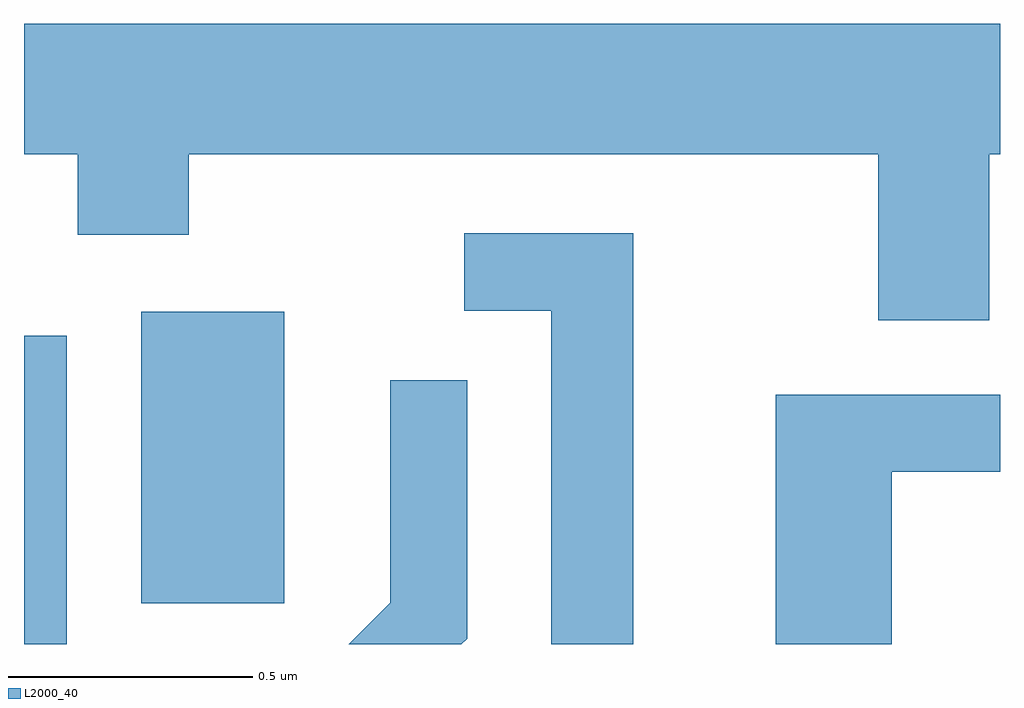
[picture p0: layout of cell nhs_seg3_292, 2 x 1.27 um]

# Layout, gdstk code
import gdstk
lib = gdstk.Library(unit=1e-6, precision=1e-09)
def R(c, l, rs):  # rectangles x0, y0, x1, y1
    for r in rs: c.add(gdstk.rectangle(r[:2], r[2:], *l))
def P(c, l, *ps):  # polygons
    for p in ps: c.add(gdstk.Polygon(p, *l))
L2000_40 = (2000, 40)

nhs_seg3_292 = lib.new_cell('nhs_seg3_292')
R(nhs_seg3_292, L2000_40, [(187.611,1133.892,187.699,1134.524), (187.851,1133.976,188.144,1134.574)])
P(nhs_seg3_292, L2000_40, [(189.589,1134.896),(189.611,1134.896),(189.611,1135.164),(187.611,1135.164),(187.611,1134.896),(187.721,1134.896),(187.721,1134.731),(187.949,1134.731),(187.949,1134.896),(189.361,1134.896),(189.361,1134.556),(189.589,1134.556)],
  [(188.859,1134.734),(188.513,1134.734),(188.513,1134.576),(188.691,1134.576),(188.691,1133.892),(188.859,1133.892)],
  [(188.519,1133.904),(188.519,1134.433),(188.361,1134.433),(188.361,1133.977),(188.276,1133.892),(188.507,1133.892)],
  [(189.389,1134.246),(189.611,1134.246),(189.611,1134.404),(189.151,1134.404),(189.151,1133.892),(189.389,1133.892)])

lib.write_gds('nhs_seg3_292.gds')
